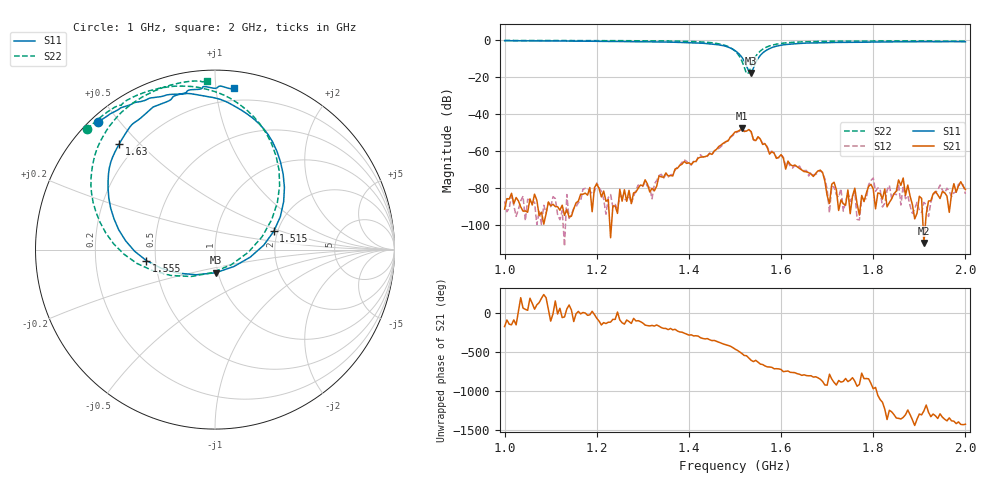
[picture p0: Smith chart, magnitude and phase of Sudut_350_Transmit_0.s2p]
# Hz S RI R 50
! CMT, C1220, 16058040, 17.2.0/1
! Date: 15/08/2018 09:07:34
! Data: Format (Calibration Info)
! Freq  S11: Re/Im (F2)  S21: Re/Im (F2)  S12: Re/Im (F2)  S22: Re/Im (F2)
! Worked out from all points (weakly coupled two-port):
!   201 points, 1 GHz to 2 GHz, reference 50 ohm
!   highest |S21| = -47.70 dB at 1.515 GHz (marker M1); lowest = -109.8 dB at 1.91 GHz (marker M2)
!   lowest |S11| = -17.8 dB at 1.535 GHz (marker M3), VSWR 1.30, Z = 48.7 - j12.8 ohm
!   |S11| at or under -10 dB: 1.517 GHz to 1.55 GHz (33.03 MHz wide, 2.15 % of centre)
!   |S22| runs from -18.2 to -0.2 dB; largest |S21 - S12| = 0.00024
!   S11 on the Smith chart (normalised r, x): 1 GHz: 0.02, +0.44; 1.515 GHz: 1.91, +0.44; 1.555 GHz: 0.44, -0.06; 1.63 GHz: 0.14, +0.44; 2 GHz: 0.11, +1.12
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1e9  -0.6499 0.7107  -2.64e-05 -4.29e-06  -2.52e-05 3.52e-05  -0.7131 0.6695
1.17e9  -0.4583 0.8142  6.68e-05 1.03e-05  9.03e-05 2.04e-05  -0.5621 0.7914
1.305e9  -0.2611 0.8631  -0.000147 -7.75e-05  -0.000132 -5.86e-05  -0.3889 0.8773
1.32e9  -0.2291 0.8655  -9.03e-05 -3.83e-05  -4.7e-05 -1.89e-05  -0.3622 0.8856
1.335e9  -0.1925 0.8663  -0.000203 -5.17e-05  -0.000214 -3.27e-05  -0.3303 0.894
1.45e9  0.1743 0.759  0.000802 0.00012  0.000789 8.1e-05  0.0852 0.8425
1.5e9  0.3868 0.3463  -0.000543 -0.00322  -0.000486 -0.00299  0.3601 0.3568
1.515e9  0.3275 0.1018  -0.00379 -0.00161  -0.00376 -0.00173  0.2618 0.0708
1.525e9  0.1966 -0.0419  -0.00344 0.000336  -0.00349 0.000314  0.0897 -0.0848
1.535e9  0.00362 -0.129  -0.00148 0.00299  -0.00146 0.00297  -0.1329 -0.1497
1.555e9  -0.3823 -0.0612  0.000809 0.00193  0.000699 0.002  -0.5073 -0.0255
1.6e9  -0.5933 0.4227  0.000794 -2.33e-05  0.000784 -4.37e-05  -0.6869 0.4366
1.61e9  -0.5809 0.4865  0.000293 -0.000136  0.000334 -0.000192  -0.6748 0.5033
1.63e9  -0.5336 0.5889  0.000305 -0.000283  0.000327 -0.000244  -0.6389 0.6024
1.67e9  -0.449 0.7078  -3.37e-05 -0.000202  -7.64e-05 -0.000207  -0.5552 0.7282
1.685e9  -0.4157 0.7316  -0.000178 -0.000242  -0.000176 -0.000248  -0.5272 0.7592
1.7e9  -0.3775 0.7651  -5.66e-05 2.43e-05  -6.69e-05 6.44e-05  -0.4985 0.784
1.835e9  -0.1568 0.8802  -3.89e-05 -1.04e-05  -0.000106 4.97e-05  -0.2792 0.9063
1.865e9  -0.1109 0.8919  -4.13e-05 0.000181  -0.000103 5.13e-05  -0.235 0.9194
1.87e9  -0.0977 0.8925  -4.66e-05 4.28e-05  -2.92e-05 4.22e-05  -0.2268 0.9212
1.91e9  -0.0572 0.9083  -3.2e-06 -4.31e-07  2.05e-05 3.51e-05  -0.1673 0.9338
2e9  0.1038 0.8979  8.73e-05 2.44e-05  6.7e-05 1.81e-05  -0.0446 0.9414
